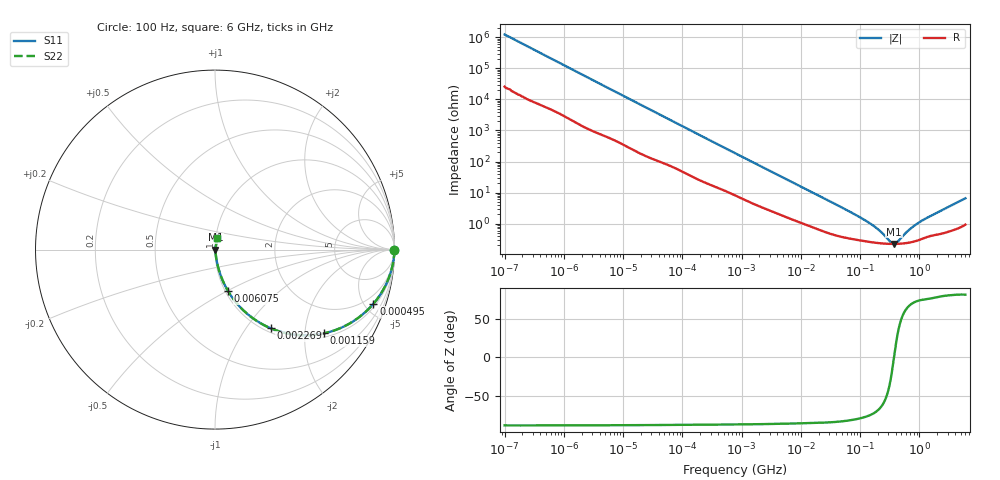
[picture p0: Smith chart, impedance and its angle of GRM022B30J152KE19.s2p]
!Murata Part Number: GRM022B30J152KE19
!These Parameters are Measured in Series Mode Connection
!Data Generated on Mar 30, 2021
!  o--ll--o
!Port1  Port2
!  o------o
!Operation Temp=25[degC], DC Bias Voltage=0[V]
!Freq. Start=100[Hz] Stop=6[GHz] 401[Steps]
# Hz S RI R 50
!Freq.(Hz) S11(Real) S11(Imag) S21(Real) S21(Imag) S12(Real) S12(Imag) S22(Real) S22(Imag)
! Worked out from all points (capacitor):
!   401 points, 100 Hz to 6 GHz, reference 50 ohm
!   read as one part in series: C = 1.28 nF near 109 Hz
!   lowest |Z| = 222 mohm at 373.7 MHz (marker M1)
!   series resonance near 374.3 MHz, so ESL is about 140 pH
!   S11 on the Smith chart (normalised r, x): 100 Hz: open; 495 kHz: 1.24, -5.76; 1.159 MHz: 1.11, -2.52; 2.269 MHz: 1.07, -1.31; 6.075 MHz: 1.03, -0.50; 6 GHz: 1.02, +0.13
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100  1 -8.09e-05  1.7e-06 8.09e-05  1.7e-06 8.09e-05  1 -8.09e-05
137  1 -0.00011  2.2e-06 0.00011  2.2e-06 0.00011  1 -0.00011
2008  1 -0.00156  3.66e-05 0.00156  3.66e-05 0.00156  1 -0.00156
40335  0.9982 -0.0298  0.00179 0.0298  0.00179 0.0298  0.9982 -0.0298
161617  0.9829 -0.1137  0.0171 0.1137  0.0171 0.1137  0.9829 -0.1137
302498  0.949 -0.202  0.051 0.202  0.051 0.202  0.949 -0.202
495019  0.8827 -0.3017  0.1173 0.3017  0.1173 0.3017  0.8827 -0.3017
774597  0.767 -0.4014  0.233 0.4014  0.233 0.4014  0.767 -0.4014
1159002  0.6089 -0.466  0.3911 0.466  0.3911 0.466  0.6089 -0.466
1585629  0.4648 -0.4759  0.5352 0.4759  0.5352 0.4759  0.4648 -0.4759
2268635  0.3093 -0.438  0.6907 0.438  0.6907 0.438  0.3093 -0.438
3549919  0.166 -0.3458  0.834 0.3458  0.834 0.3458  0.166 -0.3458
6075234  0.0724 -0.2305  0.9276 0.2305  0.9276 0.2305  0.0724 -0.2305
1.555665e7  0.0177 -0.0994  0.9823 0.0994  0.9823 0.0994  0.0177 -0.0994
1.334425e8  0.00275 -0.0111  0.9972 0.0111  0.9972 0.0111  0.00275 -0.0111
2.088084e8  0.00238 -0.00571  0.9976 0.00571  0.9976 0.00571  0.00238 -0.00571
3.124326e8  0.00223 -0.0017  0.9978 0.0017  0.9978 0.0017  0.00223 -0.0017
3.737127e8  0.00222 -1.39e-05  0.9978 1.39e-05  0.9978 1.39e-05  0.00222 -1.39e-05
4.274388e8  0.00223 0.00125  0.9978 -0.00125  0.9978 -0.00125  0.00223 0.00125
6.688484e8  0.00247 0.00574  0.9975 -0.00574  0.9975 -0.00574  0.00247 0.00574
1.046602e9  0.0032 0.0112  0.9968 -0.0112  0.9968 -0.0112  0.0032 0.0112
6e9  0.0133 0.0636  0.9867 -0.0636  0.9867 -0.0636  0.0133 0.0636
